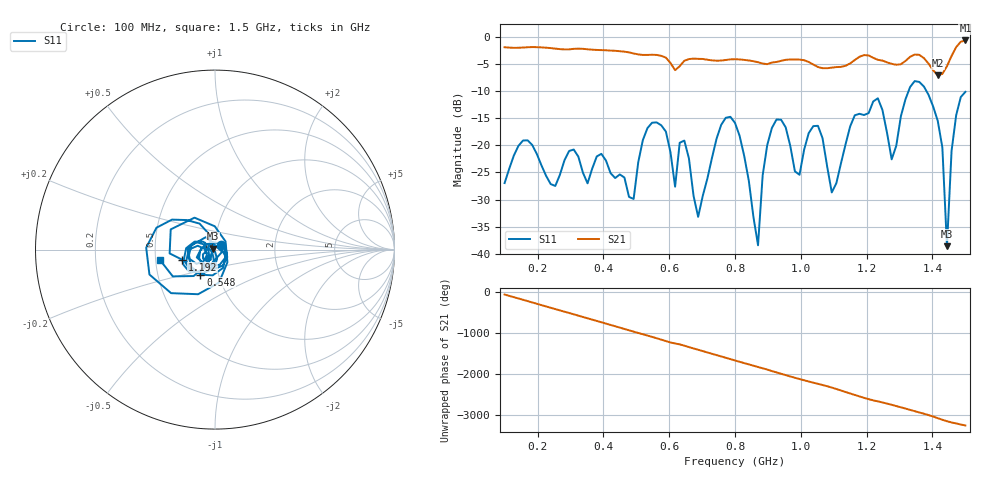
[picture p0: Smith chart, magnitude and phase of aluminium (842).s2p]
! NanoVNA-App
! Date: 2025-09-25 15:01:50
! Start: 100MHz Stop: 1,5GHz Points: 101
! S-Parameter data: F S11 S21 S12 S22
# Hz S RI R 50
!  Frequency  S11_Real  S11_Imag  S21_Real  S21_Imag  S12_Real  S12_Imag  S22_Real  S22_Imag
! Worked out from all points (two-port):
!   101 points, 100 MHz to 1.5 GHz, reference 50 ohm
!   highest |S21| = -0.67 dB at 1.5 GHz (marker M1); lowest = -7.1 dB at 1.416 GHz (marker M2)
!   |S21| within 3 dB of the highest: start of sweep to 583.1 MHz; 1.457 GHz to end of sweep (the widest 2 of 4)
!   lowest |S11| = -38.6 dB at 1.444 GHz (marker M3), VSWR 1.02, Z = 48.9 + j0.482 ohm
!   |S11| at or under -10 dB: start of sweep to 1.327 GHz; 1.382 GHz to end of sweep
!   S12 and S22 are empty: the file has one direction only
!   S11 on the Smith chart (normalised r, x): 100 MHz: 1.07, +0.06; 548 MHz: 0.82, -0.24; 1.192 GHz: 0.69, -0.08; 1.5 GHz: 0.53, -0.07
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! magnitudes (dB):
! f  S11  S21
! 100 MHz  -27.0  -1.9
! 156 MHz  -19.1  -2.0
! 338 MHz  -25.0  -2.2
! 492 MHz  -29.9  -3.1
! 548 MHz  -15.8  -3.3
! 576 MHz  -16.3  -3.5
! 618 MHz  -27.6  -6.1
! 646 MHz  -19.1  -4.4
! 688 MHz  -33.2  -4.1
! 800 MHz  -15.9  -4.1
! 870 MHz  -38.4  -4.7
! 912 MHz  -16.8  -4.7
! 996 MHz  -25.4  -4.2
! 1.038 GHz  -16.5  -5.1
! 1.094 GHz  -28.7  -5.7
! 1.192 GHz  -14.4  -3.4
! 1.276 GHz  -22.6  -5.0
! 1.346 GHz  -8.2  -3.3
! 1.416 GHz  -15.5  -7.1
! 1.444 GHz  -38.6  -5.4
! 1.458 GHz  -21.0  -3.5
! 1.5 GHz  -10.1  -0.7
